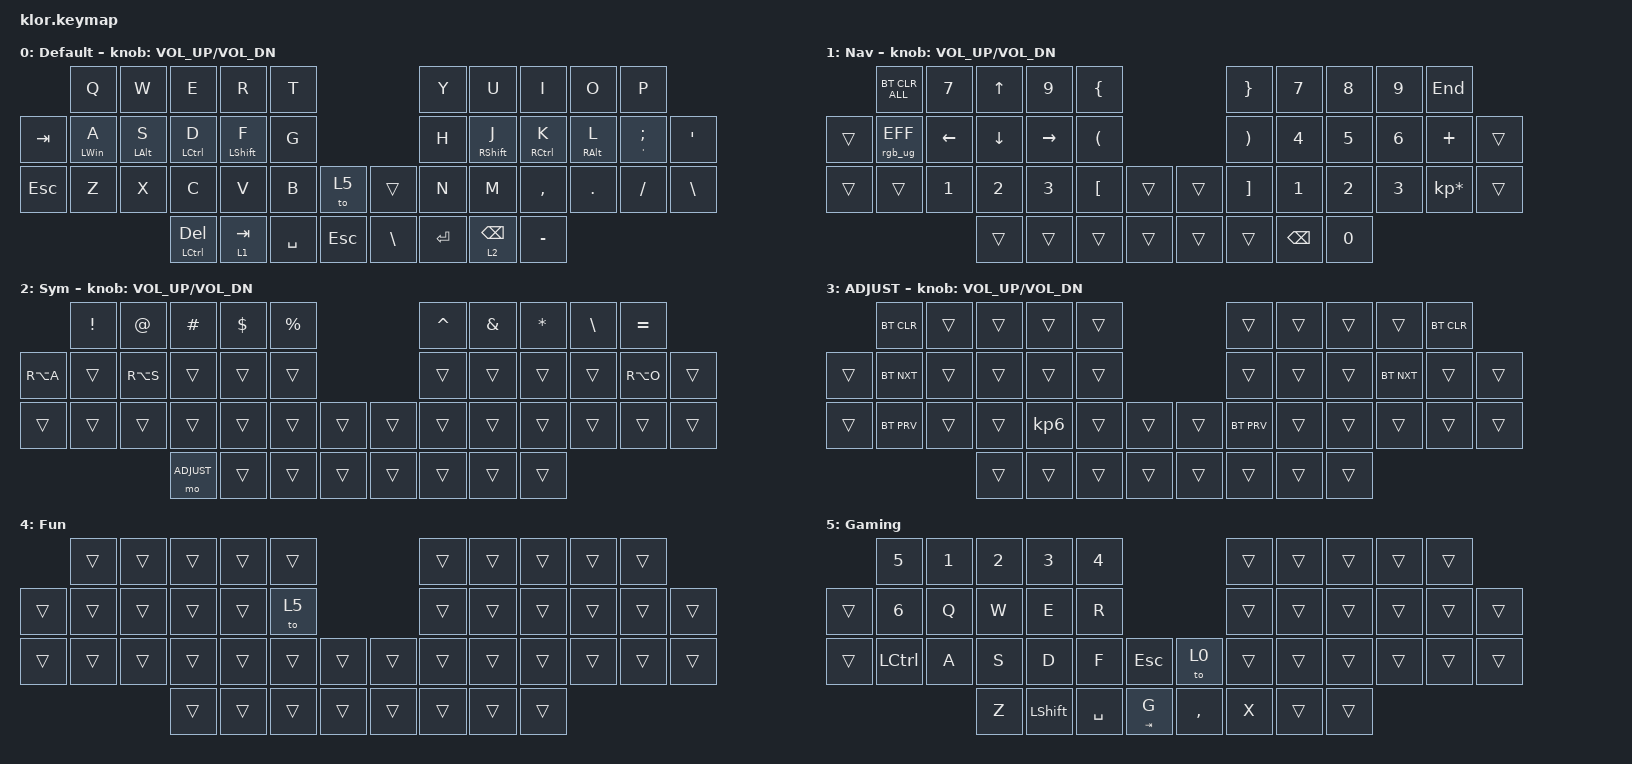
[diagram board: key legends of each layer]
//                               █         █    █            ▄▄▄▀▀▀▀▀▀▄▄▄        █▀▀▀▀▀▀▀▀▀▀█
//                               █        █     █          ▄▀            ▀▄      █          █
//                               █       █      █        ▄▀                ▀▄    █          █
//                               █      █       █        █                  █    █          █
//                               █     █        █       █                    █   █          █
//                               █    █         █       █                    █   █▄▄▄▄▄▄▄▄▄▄█
//                               █   █ █        █       █                    █   █      █
//                               █  █   █       █        █                  █    █       █
//                               █ █     █      █        ▀▄                ▄▀    █        █
//                               ██       █     █          ▀▄            ▄▀      █         █
//                               █         █    █▄▄▄▄▄▄▄▄    ▀▀▀▄▄▄▄▄▄▀▀▀        █          █
//
// ▄▄▄▄▄▄▄▄▄▄▄▄▄▄▄▄▄▄▄▄▄▄▄▄▄▄▄▄▄▄▄▄▄▄▄▄▄▄▄▄▄▄▄▄▄▄▄▄▄▄▄▄▄▄▄▄▄▄▄▄▄▄▄▄▄▄▄▄▄▄▄▄▄▄▄▄▄▄▄▄▄▄▄▄▄▄▄▄▄▄▄▄▄▄▄▄▄▄▄▄▄▄▄▄▄▄▄▄▄▄▄▄▄▄▄▄▄▄▄▄▄▄▄▄▄

#include <behaviors.dtsi>
#include <dt-bindings/zmk/bt.h>
#include <dt-bindings/zmk/keys.h>
#include <dt-bindings/zmk/rgb.h>

#define BASE   0
#define LOWER  1
#define RAISE  2
#define ADJUST 3

/ {
    behaviors {
        hm: homerow_mods {
            compatible = "zmk,behavior-hold-tap";
            label = "HOMEROW_MODS";
            #binding-cells = <2>;
            tapping-term-ms = <280>;
            quick_tap_ms = <0>;
            flavor = "balanced";
            bindings = <&kp>, <&kp>;

            quick-tap-ms = <175>;
            require-prior-idle-ms = <150>;
            hold-trigger-on-release;
        };
    };

    combos {
        compatible = "zmk,combos";

        combo_esc {
            timeout-ms = <50>;
            key-positions = <0 1>;
            bindings = <&kp ESC>;
        };

        Backspace {
            bindings = <&kp BACKSPACE>;
            key-positions = <17 18>;
        };

        Screenshot {
            bindings = <&kp LG(LS(S))>;
            key-positions = <17 18 19>;
        };

        apostraphe {
            bindings = <&kp APOSTROPHE>;
            key-positions = <20 19>;
        };
    };

    keymap {
        compatible = "zmk,keymap";

        // ▄▄▄▄▄▄▄▄▄▄▄▄▄▄▄▄▄▄▄▄▄▄▄▄▄▄▄▄▄▄▄▄▄▄▄▄▄▄▄▄▄▄▄▄▄▄▄▄▄▄▄▄▄▄▄▄▄▄▄▄▄▄▄▄▄▄▄▄▄▄▄▄▄▄▄▄▄▄▄▄▄▄▄▄▄▄▄▄▄▄▄▄▄▄▄▄▄▄▄▄▄▄▄▄▄▄▄▄▄▄▄▄▄▄▄▄▄▄▄▄▄▄▄▄▄▄▄▄▄▄▄▄▄▄▄▄▄▄▄▄▄▄

        QWERTY {
            // ┌───────────────────────────────────────────────────────────┐

            label = "Default";

            // └───────────────────────────────────────────────────────────┘
            /*           ┌─────────┬─────────┬─────────┬─────────┬─────────┐                    ┌─────────┬─────────┬─────────┬─────────┬─────────┐
             │    Q    │    W    │    F    │    P    │    G    │                    │    J    │    L    │    U    │    Y    │    ;    │   
   ┌─────────┼─────────┼─────────┼─────────┼─────────┼─────────┤                    ├─────────┼─────────┼─────────┼─────────┼─────────┼─────────┐
   │   TAB   │    A    │    R    │    S    │    T    │    D    │                    │    H    │    N    │    E    │    I    │    O    │    "    │
   ├─────────┼─────────┼─────────┼─────────┼─────────┼─────────┤╭────────╮╭────────╮├─────────┼─────────┼─────────┼─────────┼─────────┼─────────┤
   │   DEL   │    Z    │    X    │    C    │    V    │    B    ││  MUTE  ││PLY/PSE ││    K    │    M    │    ,    │    .    │    /    │    \    │
   └─────────┴─────────┴─────────┼─────────┼─────────┼─────────┼╰────────╯╰────────╯┼─────────┼─────────┼─────────┼─────────┴─────────┴─────────┘
                                 │  CTRL   │  LOWER  │  SPACE  │   ALT   ││ CMD/WIN │  ENTER  │  RAISE  │  BSPCE  │  
                                 └─────────┴─────────┴─────────┴─────────┘└─────────┴─────────┴─────────┴─────────┘ */

            bindings = <
            &kp Q       &kp W           &kp E               &kp R        &kp T                                 &kp Y      &kp U            &kp I        &kp O            &kp P
&kp TAB     &hm LWIN A  &hm LEFT_ALT S  &hm LEFT_CONTROL D  &hm LSHFT F  &kp G                                 &kp H      &hm RSHFT J      &hm RCTRL K  &hm RIGHT_ALT L  &hm APOSTROPHE SEMI  &kp SQT
&kp ESCAPE  &kp Z       &kp X           &kp C               &kp V        &kp B      &to 5       &trans         &kp N      &kp M            &kp COMMA    &kp DOT          &kp FSLH             &kp BSLH
                                        &hm LCTRL DEL       &lt 1 TAB    &kp SPACE  &kp ESCAPE  &kp BACKSLASH  &kp ENTER  &lt 2 BACKSPACE  &kp MINUS
            >;

            sensor-bindings = <&inc_dec_kp C_VOL_UP C_VOL_DN>;
        };

        // ▄▄▄▄▄▄▄▄▄▄▄▄▄▄▄▄▄▄▄▄▄▄▄▄▄▄▄▄▄▄▄▄▄▄▄▄▄▄▄▄▄▄▄▄▄▄▄▄▄▄▄▄▄▄▄▄▄▄▄▄▄▄▄▄▄▄▄▄▄▄▄▄▄▄▄▄▄▄▄▄▄▄▄▄▄▄▄▄▄▄▄▄▄▄▄▄▄▄▄▄▄▄▄▄▄▄▄▄▄▄▄▄▄▄▄▄▄▄▄▄▄▄▄▄▄▄▄▄▄▄▄▄▄▄▄▄▄▄▄▄▄▄

        Navigation {
            // ┌───────────────────────────────────────────────────────────┐

            label = "Nav";

            // └───────────────────────────────────────────────────────────┘
            /*           ┌─────────┬─────────┬─────────┬─────────┬─────────┐                    ┌─────────┬─────────┬─────────┬─────────┬─────────┐
             │         │         │    UP   │         │    {    │                    │    }    │    7    │    8    │    9    │    +    │
   ┌─────────┼─────────┼─────────┼─────────┼─────────┼─────────┤                    ├─────────┼─────────┼─────────┼─────────┼─────────┼─────────┐
   │         │         │   LEFT  │  DOWN   │  RIGHT  │    [    │                    │    ]    │    4    │    5    │    6    │    -    │         │
   ├─────────┼─────────┼─────────┼─────────┼─────────┼─────────┤╭────────╮╭────────╮├─────────┼─────────┼─────────┼─────────┼─────────┼─────────┤
   │         │         │   P UP  │ C LOCK  │ P DOWN  │    (    ││        ││        ││    )    │    1    │    2    │    3    │    *    │         │
   └─────────┴─────────┴─────────┼─────────┼─────────┼─────────┼╰────────╯╰────────╯┼─────────┼─────────┼─────────┼─────────┴─────────┴─────────┘
                                 │         │         │         │         ││         │         │    0    │         │  
                                 └─────────┴─────────┴─────────┴─────────┘└─────────┴─────────┴─────────┴─────────┘ */

            bindings = <
        &bt BT_CLR_ALL   &kp NUMBER_7  &kp UP_ARROW  &kp NUMBER_9  &kp LBRC                              &kp RBRC               &kp NUMBER_7   &kp N8        &kp N9        &kp END
&trans  &rgb_ug RGB_EFF  &kp LEFT      &kp DOWN      &kp RIGHT     &kp LEFT_PARENTHESIS                  &kp RIGHT_PARENTHESIS  &kp NUMBER_4   &kp NUMBER_5  &kp NUMBER_6  &kp PLUS         &trans
&trans  &trans           &kp NUMBER_1  &kp NUMBER_2  &kp NUMBER_3  &kp LEFT_BRACKET      &trans  &trans  &kp RIGHT_BRACKET      &kp NUMBER_1   &kp NUMBER_2  &kp NUMBER_3  &kp KP_MULTIPLY  &trans
                                       &trans        &trans        &trans                &trans  &trans  &trans                 &kp BACKSPACE  &kp NUMBER_0
            >;

            sensor-bindings = <&inc_dec_kp C_VOL_UP C_VOL_DN>;
        };

        // ▄▄▄▄▄▄▄▄▄▄▄▄▄▄▄▄▄▄▄▄▄▄▄▄▄▄▄▄▄▄▄▄▄▄▄▄▄▄▄▄▄▄▄▄▄▄▄▄▄▄▄▄▄▄▄▄▄▄▄▄▄▄▄▄▄▄▄▄▄▄▄▄▄▄▄▄▄▄▄▄▄▄▄▄▄▄▄▄▄▄▄▄▄▄▄▄▄▄▄▄▄▄▄▄▄▄▄▄▄▄▄▄▄▄▄▄▄▄▄▄▄▄▄▄▄

        digits {
            // ┌───────────────────────────────────────────────────────────┐

            label = "Sym";

            // └───────────────────────────────────────────────────────────┘
            /*           ┌─────────┬─────────┬─────────┬─────────┬─────────┐                    ┌─────────┬─────────┬─────────┬─────────┬─────────┐
             │         │         │         │         │         │                    │         │         │    Ü    │         │         │
   ┌─────────┼─────────┼─────────┼─────────┼─────────┼─────────┤                    ├─────────┼─────────┼─────────┼─────────┼─────────┼─────────┐
   │    Ä    │         │    ß    │         │         │         │                    │         │         │         │         │    Ö    │         │
   ├─────────┼─────────┼─────────┼─────────┼─────────┼─────────┤╭────────╮╭────────╮├─────────┼─────────┼─────────┼─────────┼─────────┼─────────┤
   │         │         │         │         │         │         ││        ││        ││         │         │         │         │         │         │
   └─────────┴─────────┴─────────┼─────────┼─────────┼─────────┼╰────────╯╰────────╯┼─────────┼─────────┼─────────┼─────────┴─────────┴─────────┘
                                 │ ADJUST  │         │         │         ││         │         │         │         │  
                                 └─────────┴─────────┴─────────┴─────────┘└─────────┴─────────┴─────────┴─────────┘ */

            bindings = <
           &kp EXCL  &kp AT     &kp HASH    &kp DOLLAR  &kp PERCENT                  &kp CARET  &kp AMPERSAND  &kp STAR  &kp BACKSLASH  &kp EQUAL
&kp RA(A)  &trans    &kp RA(S)  &trans      &trans      &trans                       &trans     &trans         &trans    &trans         &kp RA(O)  &trans
&trans     &trans    &trans     &trans      &trans      &trans       &trans  &trans  &trans     &trans         &trans    &trans         &trans     &trans
                                &mo ADJUST  &trans      &trans       &trans  &trans  &trans     &trans         &trans
            >;

            sensor-bindings = <&inc_dec_kp C_VOL_UP C_VOL_DN>;
        };

        // ▄▄▄▄▄▄▄▄▄▄▄▄▄▄▄▄▄▄▄▄▄▄▄▄▄▄▄▄▄▄▄▄▄▄▄▄▄▄▄▄▄▄▄▄▄▄▄▄▄▄▄▄▄▄▄▄▄▄▄▄▄▄▄▄▄▄▄▄▄▄▄▄▄▄▄▄▄▄▄▄▄▄▄▄▄▄▄▄▄▄▄▄▄▄▄▄▄▄▄▄▄▄▄▄▄▄▄▄▄▄▄▄▄▄▄▄▄▄▄▄▄▄▄▄▄

        adjust_layer {
            // ┌───────────────────────────────────────────────────────────┐

            label = "ADJUST";

            // └───────────────────────────────────────────────────────────┘
            /*           ┌─────────┬─────────┬─────────┬─────────┬─────────┐                    ┌─────────┬─────────┬─────────┬─────────┬─────────┐
             │         │         │         │         │         │                    │         │         │         │         │         │
   ┌─────────┼─────────┼─────────┼─────────┼─────────┼─────────┤                    ├─────────┼─────────┼─────────┼─────────┼─────────┼─────────┐
   │         │         │         │         │         │         │                    │         │         │         │         │         │         │
   ├─────────┼─────────┼─────────┼─────────┼─────────┼─────────┤╭────────╮╭────────╮├─────────┼─────────┼─────────┼─────────┼─────────┼─────────┤
   │         │         │         │         │         │         ││        ││        ││         │         │         │         │         │         │
   └─────────┴─────────┴─────────┼─────────┼─────────┼─────────┼╰────────╯╰────────╯┼─────────┼─────────┼─────────┼─────────┴─────────┴─────────┘
                                 │         │         │         │         ││         │         │         │         │  
                                 └─────────┴─────────┴─────────┴─────────┘└─────────┴─────────┴─────────┴─────────┘ */

            bindings = <
        &bt BT_CLR  &trans  &trans  &trans     &trans                  &trans      &trans  &trans  &trans      &bt BT_CLR
&trans  &bt BT_NXT  &trans  &trans  &trans     &trans                  &trans      &trans  &trans  &bt BT_NXT  &trans      &trans
&trans  &bt BT_PRV  &trans  &trans  &kp KP_N6  &trans  &trans  &trans  &bt BT_PRV  &trans  &trans  &trans      &trans      &trans
                            &trans  &trans     &trans  &trans  &trans  &trans      &trans  &trans
            >;

            sensor-bindings = <&inc_dec_kp C_VOL_UP C_VOL_DN>;
        };

        Fun {
            bindings = <
        &trans  &trans  &trans  &trans  &trans                  &trans  &trans  &trans  &trans  &trans
&trans  &trans  &trans  &trans  &trans  &to 5                   &trans  &trans  &trans  &trans  &trans  &trans
&trans  &trans  &trans  &trans  &trans  &trans  &trans  &trans  &trans  &trans  &trans  &trans  &trans  &trans
                        &trans  &trans  &trans  &trans  &trans  &trans  &trans  &trans
            >;

            label = "Fun";
        };

        Gaming {
            bindings = <
        &kp NUMBER_5  &kp NUMBER_1  &kp NUMBER_2  &kp NUMBER_3    &kp NUMBER_4                         &trans  &trans  &trans  &trans  &trans
&trans  &kp NUMBER_6  &kp Q         &kp W         &kp E           &kp R                                &trans  &trans  &trans  &trans  &trans  &trans
&trans  &kp LCTRL     &kp A         &kp S         &kp D           &kp F         &kp ESCAPE  &to 0      &trans  &trans  &trans  &trans  &trans  &trans
                                    &kp Z         &kp LEFT_SHIFT  &kp SPACE     &hm TAB G   &kp COMMA  &kp X   &trans  &trans
            >;

            label = "Gaming";
        };
    };
};
